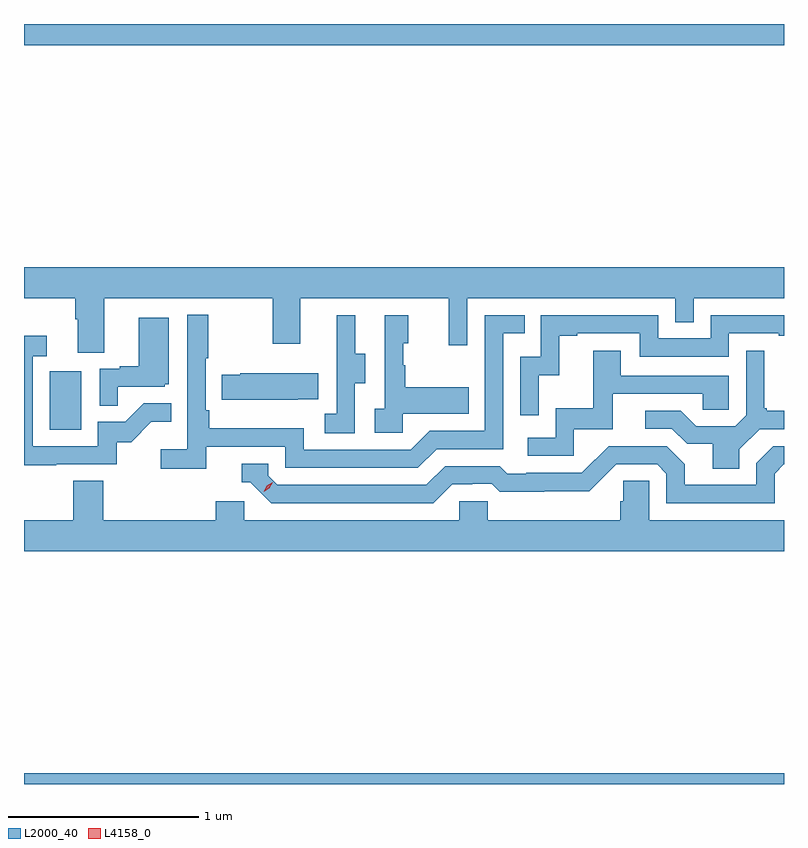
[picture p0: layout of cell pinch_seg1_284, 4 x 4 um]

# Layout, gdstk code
import gdstk
lib = gdstk.Library(unit=1e-6, precision=1e-09)
def R(c, l, rs):  # rectangles x0, y0, x1, y1
    for r in rs: c.add(gdstk.rectangle(r[:2], r[2:], *l))
def P(c, l, *ps):  # polygons
    for p in ps: c.add(gdstk.Polygon(p, *l))
L2000_40 = (2000, 40)
L4158_0 = (4158, 0)

pinch_seg1_284 = lib.new_cell('pinch_seg1_284')
R(pinch_seg1_284, L2000_40, [(922.204,545.179,926.204,545.236), (922.34,547.044,922.504,547.351), (922.204,549.068,926.204,549.179)])
P(pinch_seg1_284, L2000_40, [(922.627,547.736),(923.512,547.736),(923.512,547.497),(923.659,547.497),(923.659,547.736),(924.44,547.736),(924.44,547.488),(924.537,547.488),(924.537,547.736),(925.632,547.736),(925.632,547.609),(925.728,547.609),(925.728,547.736),(926.204,547.736),(926.204,547.9),(922.204,547.9),(922.204,547.736),(922.475,547.736),(922.475,547.624),(922.487,547.624),(922.487,547.45),(922.627,547.45)],
  [(923.162,546.954),(923.58,546.954),(923.58,546.843),(924.277,546.843),(924.376,546.942),(924.726,546.942),(924.726,547.551),(924.839,547.551),(924.839,547.647),(924.63,547.647),(924.63,547.038),(924.339,547.038),(924.24,546.939),(923.676,546.939),(923.676,547.051),(923.18,547.051),(923.18,547.147),(923.16,547.147),(923.16,547.42),(923.173,547.42),(923.173,547.648),(923.064,547.648),(923.064,546.94),(922.923,546.94),(922.923,546.838),(923.162,546.838)],
  [(924.912,547.331),(925.022,547.331),(925.022,547.539),(925.117,547.539),(925.117,547.551),(925.446,547.551),(925.446,547.428),(925.914,547.428),(925.914,547.551),(926.177,547.551),(926.177,547.539),(926.204,547.539),(926.204,547.647),(925.818,547.647),(925.818,547.524),(925.542,547.524),(925.542,547.647),(924.924,547.647),(924.924,547.428),(924.816,547.428),(924.816,547.119),(924.912,547.119)],
  [(923.946,547.288),(924.001,547.288),(924.001,547.443),(923.947,547.443),(923.947,547.645),(923.849,547.645),(923.849,547.431),(923.85,547.431),(923.85,547.127),(923.787,547.127),(923.787,547.024),(923.946,547.024)],
  [(924.198,547.127),(924.545,547.127),(924.545,547.267),(924.211,547.267),(924.211,547.382),(924.201,547.382),(924.201,547.5),(924.226,547.5),(924.226,547.645),(924.102,547.645),(924.102,547.154),(924.051,547.154),(924.051,547.029),(924.198,547.029)],
  [(922.697,547.269),(922.944,547.269),(922.944,547.284),(922.966,547.284),(922.966,547.633),(922.808,547.633),(922.808,547.378),(922.709,547.378),(922.709,547.365),(922.602,547.365),(922.602,547.171),(922.697,547.171)],
  [(922.373,546.861),(922.692,546.861),(922.692,546.978),(922.768,546.978),(922.875,547.085),(922.979,547.085),(922.979,547.184),(922.835,547.184),(922.737,547.086),(922.593,547.086),(922.593,546.957),(922.251,546.957),(922.251,547.431),(922.324,547.431),(922.324,547.537),(922.204,547.537),(922.204,546.856),(922.373,546.856)],
  [(925.969,546.94),(926.076,547.047),(926.204,547.047),(926.204,547.144),(926.113,547.144),(926.113,547.156),(926.101,547.156),(926.101,547.459),(926.004,547.459),(926.004,547.119),(925.947,547.062),(925.741,547.062),(925.66,547.143),(925.473,547.143),(925.473,547.05),(925.614,547.05),(925.694,546.97),(925.829,546.97),(925.829,546.838),(925.969,546.838)],
  [(925.098,547.047),(925.303,547.047),(925.303,547.233),(925.777,547.233),(925.777,547.149),(925.914,547.149),(925.914,547.329),(925.345,547.329),(925.345,547.459),(925.201,547.459),(925.201,547.156),(925.002,547.156),(925.002,547.002),(924.855,547.002),(924.855,546.906),(925.098,546.906)],
  [(923.645,547.205),(923.753,547.205),(923.753,547.342),(923.343,547.342),(923.343,547.332),(923.245,547.332),(923.245,547.202),(923.645,547.202)],
  [(924.457,546.756),(924.564,546.756),(924.564,546.759),(924.667,546.759),(924.709,546.717),(924.942,546.717),(924.942,546.719),(925.178,546.719),(925.32,546.861),(925.536,546.861),(925.584,546.813),(925.584,546.657),(926.154,546.657),(926.154,546.813),(926.202,546.861),(926.204,546.861),(926.204,546.957),(926.148,546.957),(926.058,546.867),(926.058,546.753),(925.681,546.753),(925.681,546.863),(925.587,546.957),(925.281,546.957),(925.14,546.816),(924.847,546.816),(924.847,546.813),(924.748,546.813),(924.709,546.852),(924.42,546.852),(924.321,546.753),(923.538,546.753),(923.49,546.801),(923.49,546.864),(923.351,546.864),(923.351,546.768),(923.394,546.768),(923.505,546.657),(924.358,546.657)],
  [(926.204,546.568),(925.494,546.568),(925.494,546.776),(925.357,546.776),(925.357,546.666),(925.343,546.666),(925.343,546.568),(924.645,546.568),(924.645,546.666),(924.495,546.666),(924.495,546.568),(923.364,546.568),(923.364,546.666),(923.213,546.666),(923.213,546.568),(922.622,546.568),(922.622,546.776),(922.462,546.776),(922.462,546.568),(922.204,546.568),(922.204,546.404),(926.204,546.404)])
P(pinch_seg1_284, L4158_0, [(923.466,546.716),(923.466,546.716),(923.482,546.749),(923.512,546.768),(923.512,546.768),(923.512,546.768),(923.496,546.735),(923.466,546.716)])

lib.write_gds('pinch_seg1_284.gds')
